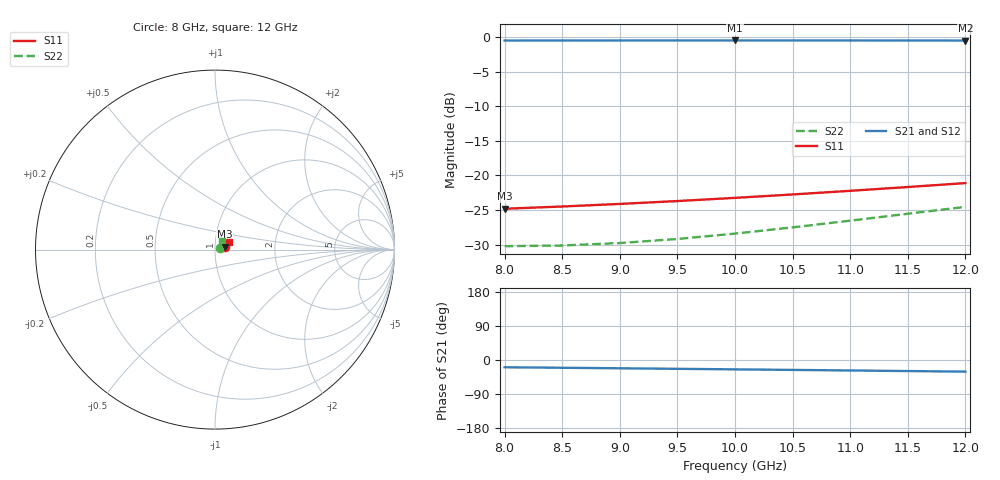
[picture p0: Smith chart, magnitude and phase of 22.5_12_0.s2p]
! Created Thu Oct 22 17:08:16 2020
# hz S ma R 50
! 2 Port Network Data from SP1.SP block
! freq  magS11  angS11  magS21  angS21  magS12  angS12  magS22  angS22
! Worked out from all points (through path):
!   9 points, 8 GHz to 12 GHz, reference 50 ohm
!   highest |S21| = -0.47 dB at 10 GHz (marker M1); lowest = -0.5 dB at 12 GHz (marker M2)
!   lowest |S11| = -24.8 dB at 8 GHz (marker M3), VSWR 1.12, Z = 55.8 + j1.84 ohm
!   |S11| at or under -10 dB: start of sweep to end of sweep
!   |S22| runs from -30.2 to -24.5 dB; largest |S21 - S12| = 0
8e9  0.05741 16.7  0.9464 -19.2  0.9464 -19.2  0.03078 12.1
8.5e9  0.05959 18.6  0.9469 -20.5  0.9469 -20.5  0.03113 19.0
9e9  0.0622 20.5  0.9473 -21.9  0.9473 -21.9  0.03241 25.9
9.5e9  0.06527 22.3  0.9475 -23.3  0.9475 -23.3  0.03469 32.4
1e10  0.06881 23.9  0.9477 -24.7  0.9477 -24.7  0.03793 38.1
1.05e10  0.07284 25.3  0.9476 -26.2  0.9476 -26.2  0.04209 42.7
1.1e10  0.07738 26.5  0.9474 -27.6  0.9474 -27.6  0.04707 46.2
1.15e10  0.08244 27.5  0.947 -29.2  0.947 -29.2  0.05281 48.8
1.2e10  0.08803 28.3  0.9464 -30.7  0.9464 -30.7  0.05925 50.5
